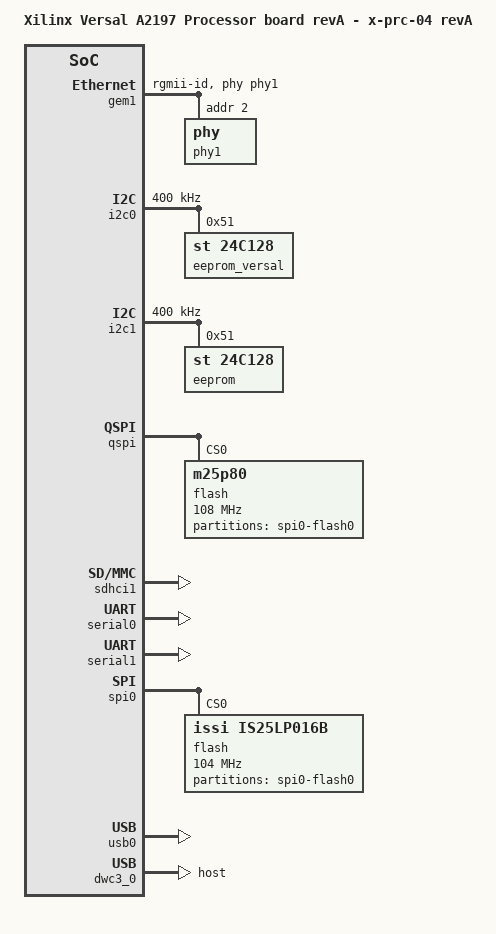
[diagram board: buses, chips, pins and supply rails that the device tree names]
// SPDX-License-Identifier: GPL-2.0
/*
 * dts file for Xilinx Versal X-PRC-04 revA (SE4)
 *
 * (C) Copyright 2019, Xilinx, Inc.
 *
 * Michal Simek <michal.simek@xilinx.com>
 */

#include "versal-vc-p-a2197-00-revA.dts"

/ {
	compatible = "xlnx,versal-vc-p-a2197-00-revA-x-prc-04-revA",
		     "xlnx,versal-vc-p-a2197-00-revA",
		     "xlnx,versal-vc-p-a2197-00",
		     "xlnx,versal-vc-p-a2197", "xlnx,versal";
	model = "Xilinx Versal A2197 Processor board revA - x-prc-04 revA";

	chosen {
		bootargs = "console=ttyAMA0 earlycon=pl011,mmio32,0xFF000000,115200n8 clk_ignore_unused";
		stdout-path = "serial0:115200";
	};

	aliases {
		serial0 = &serial0;
		serial1 = &serial1;
		ethernet1 = &gem1;
		i2c0 = &i2c0;
		i2c1 = &i2c1;
		mmc0 = &sdhci1;
		spi0 = &qspi;
		spi1 = &spi0;
		usb0 = &usb0;
	};
};

&gem1 {
	status = "okay";
	phy-handle = <&phy1>; /* u175 */
	phy-mode = "rgmii-id"; /* RTL8211DN */
	phy1: phy@1 {
		reg = <2>;
	};
};

&gpio0 {
	status = "okay";
};

&gpio1 {
	status = "okay";
};

&i2c0 {
	status = "okay";
	clock-frequency = <400000>;
	eeprom_versal: eeprom@51 { /* U153 */
		compatible = "st,24c128", "atmel,24c128";
		reg = <0x51>;
	};
};

&i2c1 {
	status = "okay";
	clock-frequency = <400000>;
	eeprom: eeprom@51 { /* U155 */
		compatible = "st,24c128", "atmel,24c128";
		reg = <0x51>;
	};
};

&qspi {
	status = "okay"; /* u93 and u92 and u161 and u160 */
	num-cs = <1>;
	is-dual = <0>;
	is-stacked = <1>;
	spi-rx-bus-width = <4>;
	spi-tx-bus-width = <4>;

	flash@0 {
		#address-cells = <1>;
		#size-cells = <1>;
		compatible = "m25p80", "jedec,spi-nor"; /* 512MB */
		reg = <0>;
		spi-tx-bus-width = <4>;
		spi-rx-bus-width = <4>;
		spi-max-frequency = <108000000>;
		partition@0 {
			label = "spi0-flash0";
			reg = <0x0 0x20000000>;
		};
	};
};

&sdhci1 { /* J3 MIO26, MIO29 - MIO33 */
	status = "okay";
	disable-wp;
	xlnx,mio-bank = <1>; /* FIXME */
};

&serial0 { /* MIO35 - MIO37 */
	status = "okay";
};

&serial1 { /* MIO4 - MIO7 RS232 */
	status = "okay";
};

&spi0 {
	status = "okay";
	num-cs = <1>;

	flash@0 { /* U171 - IS25LP016B - 16Mb */
		#address-cells = <1>;
		#size-cells = <1>;
		compatible = "issi,is25lp016b", "m25p80", "jedec,spi-nor";
		spi-max-frequency = <104000000>;
		reg = <0>;

		partition@0 {
			label = "spi0-flash0";
			reg = <0 0x200000>;
		};
	};
};

&usb0 {
	status = "okay";
	xlnx,usb-polarity = <0x0>;
	xlnx,usb-reset-mode = <0x0>;
};

&dwc3_0 { /* USB 2.0 host - U99 */
	status = "okay";
	dr_mode = "host";
	maximum-speed = "high-speed";
	snps,dis_u2_susphy_quirk;
	snps,dis_u3_susphy_quirk;
	snps,usb3_lpm_capable;
	phy-names = "usb3-phy";
};
